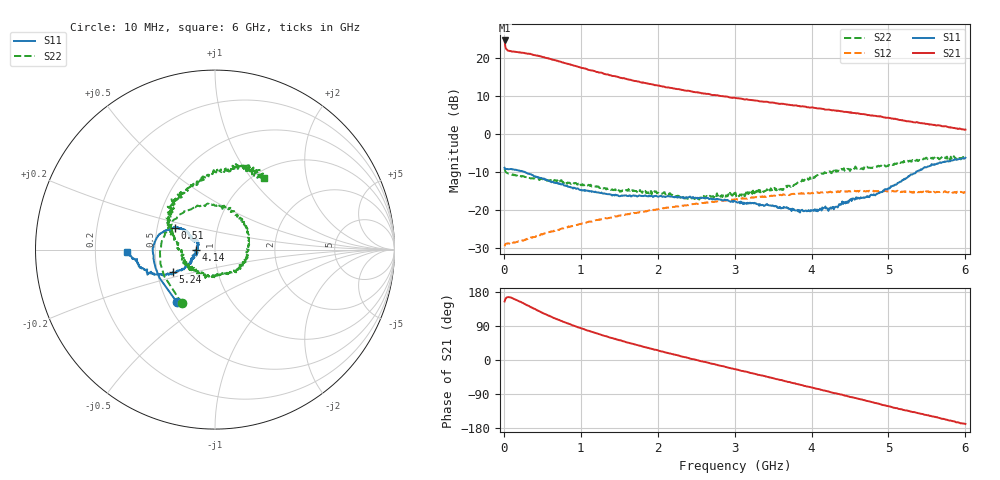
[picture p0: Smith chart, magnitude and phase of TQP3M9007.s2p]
! TriQuint Semiconductor
! TQP3M9007 High Linearity LNA Gain Block
! SOT-89 Package
! The data is for the unmatched device in a 50 Ohm system, 2-port file de-embedded to the device leads.
! Device bias: +5V V @ 135 mA Icq
! Temperature: 25C
! Date: 04/05/2011
! Lot Code: N/A
!  Port 1 corresponds to Pin 1 on the TQP3M9007 (RF input)
!  Port 2 corresponds to Pin 3 on the TQP3M9007 (RF output)
! All data in ma (Magnitude/Angle) format
! freq-unit  param-type  data-format  keyword  impedance-ohms
# GHZ  S  MA  R  50
!Freq  S11Mag  S11Ang  S21Mag  S21Ang  S12Mag  S12Ang  S22Mag  S22Ang
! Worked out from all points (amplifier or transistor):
!   600 points, 10 MHz to 6 GHz, reference 50 ohm
!   highest |S21| = 24.6 dB at 10 MHz (marker M1)
!   |S21| within 3 dB of that: start of sweep to 153.7 MHz
!   unconditionally stable (mu >= 1): 14.23 MHz to end of sweep
!   at 1.01 GHz: K = 1.19, MAG = 17.8 dB, |S12| = -23.6 dB
!   at 3.01 GHz: K = 1.37, MAG = 9.7 dB, |S12| = -17.2 dB
!   at 6 GHz: K = 1.80, MAG = 3.0 dB, |S12| = -15.3 dB
!   S11 on the Smith chart (normalised r, x): 10 MHz: 0.56, -0.37; 510 MHz: 0.62, +0.16; 4.14 GHz: 0.80, -0.00; 5.24 GHz: 0.60, -0.16; 6 GHz: 0.34, -0.01
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0.01  0.361 -126.5  16.91 154.6  0.0337 23.6  0.3519 -121.7
0.05  0.3464 -171.7  12.47 165.9  0.0369 7.5  0.307 -177.7
0.08  0.3472 -178.4  12.25 165.4  0.0373 6.8  0.2996 170.4
0.23  0.3281 166.5  11.67 152.4  0.0397 13.1  0.2752 140.9
0.33  0.3009 160.5  11.25 142.1  0.0425 15.6  0.2649 123.7
0.45  0.2665 154.6  10.57 129.4  0.0471 17.6  0.2608 105.0
0.51  0.2558 151.8  10.22 123.7  0.0486 17.2  0.2523 96.7
0.72  0.2219 148.8  9.002 105.8  0.0549 17.8  0.2481 70.0
0.88  0.1991 146.8  8.099 92.7  0.0617 16.6  0.2252 52.5
1.01  0.1819 147.2  7.365 83.3  0.0659 14.0  0.2137 40.7
1.19  0.1751 149.0  6.642 71.0  0.0736 12.2  0.2042 25.2
1.46  0.1566 151.6  5.673 54.6  0.0827 6.5  0.1781 1.1
1.73  0.1515 153.8  4.936 39.6  0.0923 0.7  0.174 -19.1
2.01  0.1503 155.1  4.332 24.8  0.1031 -6.4  0.169 -40.6
2.55  0.1451 153.9  3.48 -2.7  0.1234 -21.4  0.1464 -87.6
3.01  0.1298 156.4  2.969 -24.3  0.1385 -36.5  0.1702 -124.9
3.51  0.1126 153.1  2.567 -48.4  0.1547 -53.7  0.1934 -165.7
4.01  0.0995 176.1  2.236 -72.8  0.1695 -73.2  0.2722 153.7
4.14  0.1086 -179.0  2.138 -79.3  0.1718 -78.5  0.3021 146.4
5.01  0.1926 -149.7  1.62 -122.5  0.1752 -114.4  0.3933 104.7
5.24  0.2663 -152.0  1.464 -133.2  0.1744 -124.6  0.4373 89.0
6  0.489 -178.1  1.144 -168.8  0.1718 -154.6  0.4841 55.6
